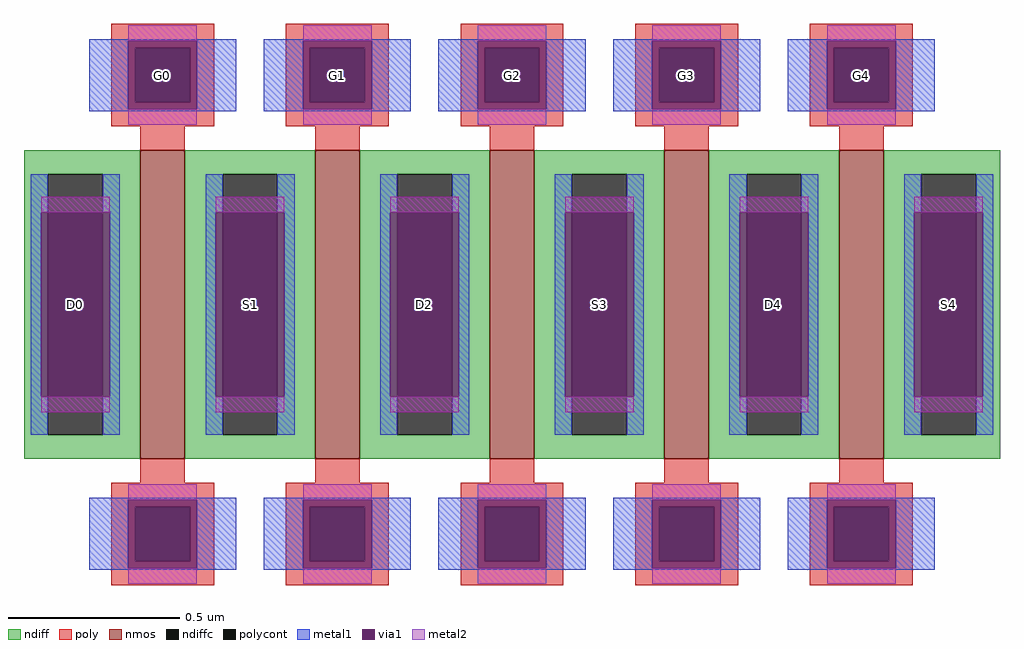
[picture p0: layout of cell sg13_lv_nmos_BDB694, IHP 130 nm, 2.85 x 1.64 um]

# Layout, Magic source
magic
tech ihp-sg13cmos5l
magscale 1 2
<< nmos >>
rect -217 -90 -191 90
rect -115 -90 -89 90
rect -13 -90 13 90
rect 89 -90 115 90
rect 191 -90 217 90
<< ndiff >>
rect -285 76 -217 90
rect -285 -76 -271 76
rect -239 -76 -217 76
rect -285 -90 -217 -76
rect -191 76 -115 90
rect -191 -76 -169 76
rect -137 -76 -115 76
rect -191 -90 -115 -76
rect -89 76 -13 90
rect -89 -76 -67 76
rect -35 -76 -13 76
rect -89 -90 -13 -76
rect 13 76 89 90
rect 13 -76 35 76
rect 67 -76 89 76
rect 13 -90 89 -76
rect 115 76 191 90
rect 115 -76 137 76
rect 169 -76 191 76
rect 115 -90 191 -76
rect 217 76 285 90
rect 217 -76 239 76
rect 271 -76 285 76
rect 217 -90 285 -76
<< ndiffc >>
rect -271 -76 -239 76
rect -169 -76 -137 76
rect -67 -76 -35 76
rect 35 -76 67 76
rect 137 -76 169 76
rect 239 -76 271 76
<< poly >>
rect -234 150 -174 164
rect -234 118 -220 150
rect -188 118 -174 150
rect -234 104 -174 118
rect -132 150 -72 164
rect -132 118 -118 150
rect -86 118 -72 150
rect -132 104 -72 118
rect -30 150 30 164
rect -30 118 -16 150
rect 16 118 30 150
rect -30 104 30 118
rect 72 150 132 164
rect 72 118 86 150
rect 118 118 132 150
rect 72 104 132 118
rect 174 150 234 164
rect 174 118 188 150
rect 220 118 234 150
rect 174 104 234 118
rect -217 90 -191 104
rect -115 90 -89 104
rect -13 90 13 104
rect 89 90 115 104
rect 191 90 217 104
rect -217 -104 -191 -90
rect -115 -104 -89 -90
rect -13 -104 13 -90
rect 89 -104 115 -90
rect 191 -104 217 -90
rect -234 -118 -174 -104
rect -234 -150 -220 -118
rect -188 -150 -174 -118
rect -234 -164 -174 -150
rect -132 -118 -72 -104
rect -132 -150 -118 -118
rect -86 -150 -72 -118
rect -132 -164 -72 -150
rect -30 -118 30 -104
rect -30 -150 -16 -118
rect 16 -150 30 -118
rect -30 -164 30 -150
rect 72 -118 132 -104
rect 72 -150 86 -118
rect 118 -150 132 -118
rect 72 -164 132 -150
rect 174 -118 234 -104
rect 174 -150 188 -118
rect 220 -150 234 -118
rect 174 -164 234 -150
<< polycont >>
rect -220 118 -188 150
rect -118 118 -86 150
rect -16 118 16 150
rect 86 118 118 150
rect 188 118 220 150
rect -220 -150 -188 -118
rect -118 -150 -86 -118
rect -16 -150 16 -118
rect 86 -150 118 -118
rect 188 -150 220 -118
<< metal1 >>
rect -247 154 -161 155
rect -247 114 -224 154
rect -184 114 -161 154
rect -247 113 -161 114
rect -145 154 -59 155
rect -145 114 -122 154
rect -82 114 -59 154
rect -145 113 -59 114
rect -43 154 43 155
rect -43 114 -20 154
rect 20 114 43 154
rect -43 113 43 114
rect 59 154 145 155
rect 59 114 82 154
rect 122 114 145 154
rect 59 113 145 114
rect 161 154 247 155
rect 161 114 184 154
rect 224 114 247 154
rect 161 113 247 114
rect -281 54 -271 76
rect -239 54 -229 76
rect -281 -54 -275 54
rect -235 -54 -229 54
rect -281 -76 -271 -54
rect -239 -76 -229 -54
rect -179 54 -169 76
rect -137 54 -127 76
rect -179 -54 -173 54
rect -133 -54 -127 54
rect -179 -76 -169 -54
rect -137 -76 -127 -54
rect -77 54 -67 76
rect -35 54 -25 76
rect -77 -54 -71 54
rect -31 -54 -25 54
rect -77 -76 -67 -54
rect -35 -76 -25 -54
rect 25 54 35 76
rect 67 54 77 76
rect 25 -54 31 54
rect 71 -54 77 54
rect 25 -76 35 -54
rect 67 -76 77 -54
rect 127 54 137 76
rect 169 54 179 76
rect 127 -54 133 54
rect 173 -54 179 54
rect 127 -76 137 -54
rect 169 -76 179 -54
rect 229 54 239 76
rect 271 54 281 76
rect 229 -54 235 54
rect 275 -54 281 54
rect 229 -76 239 -54
rect 271 -76 281 -54
rect -247 -114 -161 -113
rect -247 -154 -224 -114
rect -184 -154 -161 -114
rect -247 -155 -161 -154
rect -145 -114 -59 -113
rect -145 -154 -122 -114
rect -82 -154 -59 -114
rect -145 -155 -59 -154
rect -43 -114 43 -113
rect -43 -154 -20 -114
rect 20 -154 43 -114
rect -43 -155 43 -154
rect 59 -114 145 -113
rect 59 -154 82 -114
rect 122 -154 145 -114
rect 59 -155 145 -154
rect 161 -114 247 -113
rect 161 -154 184 -114
rect 224 -154 247 -114
rect 161 -155 247 -154
<< via1 >>
rect -224 150 -184 154
rect -224 118 -220 150
rect -220 118 -188 150
rect -188 118 -184 150
rect -224 114 -184 118
rect -122 150 -82 154
rect -122 118 -118 150
rect -118 118 -86 150
rect -86 118 -82 150
rect -122 114 -82 118
rect -20 150 20 154
rect -20 118 -16 150
rect -16 118 16 150
rect 16 118 20 150
rect -20 114 20 118
rect 82 150 122 154
rect 82 118 86 150
rect 86 118 118 150
rect 118 118 122 150
rect 82 114 122 118
rect 184 150 224 154
rect 184 118 188 150
rect 188 118 220 150
rect 220 118 224 150
rect 184 114 224 118
rect -275 -54 -271 54
rect -271 -54 -239 54
rect -239 -54 -235 54
rect -173 -54 -169 54
rect -169 -54 -137 54
rect -137 -54 -133 54
rect -71 -54 -67 54
rect -67 -54 -35 54
rect -35 -54 -31 54
rect 31 -54 35 54
rect 35 -54 67 54
rect 67 -54 71 54
rect 133 -54 137 54
rect 137 -54 169 54
rect 169 -54 173 54
rect 235 -54 239 54
rect 239 -54 271 54
rect 271 -54 275 54
rect -224 -118 -184 -114
rect -224 -150 -220 -118
rect -220 -150 -188 -118
rect -188 -150 -184 -118
rect -224 -154 -184 -150
rect -122 -118 -82 -114
rect -122 -150 -118 -118
rect -118 -150 -86 -118
rect -86 -150 -82 -118
rect -122 -154 -82 -150
rect -20 -118 20 -114
rect -20 -150 -16 -118
rect -16 -150 16 -118
rect 16 -150 20 -118
rect -20 -154 20 -150
rect 82 -118 122 -114
rect 82 -150 86 -118
rect 86 -150 118 -118
rect 118 -150 122 -118
rect 82 -154 122 -150
rect 184 -118 224 -114
rect 184 -150 188 -118
rect 188 -150 220 -118
rect 220 -150 224 -118
rect 184 -154 224 -150
<< metal2 >>
rect -224 154 -184 163
rect -224 105 -184 114
rect -122 154 -82 163
rect -122 105 -82 114
rect -20 154 20 163
rect -20 105 20 114
rect 82 154 122 163
rect 82 105 122 114
rect 184 154 224 163
rect 184 105 224 114
rect -275 54 -235 63
rect -275 -63 -235 -54
rect -173 54 -133 63
rect -173 -63 -133 -54
rect -71 54 -31 63
rect -71 -63 -31 -54
rect 31 54 71 63
rect 31 -63 71 -54
rect 133 54 173 63
rect 133 -63 173 -54
rect 235 54 275 63
rect 235 -63 275 -54
rect -224 -114 -184 -105
rect -224 -163 -184 -154
rect -122 -114 -82 -105
rect -122 -163 -82 -154
rect -20 -114 20 -105
rect -20 -163 20 -154
rect 82 -114 122 -105
rect 82 -163 122 -154
rect 184 -114 224 -105
rect 184 -163 224 -154
<< labels >>
rlabel ndiffc -255 0 -255 0 0 D0
port 1 nsew
rlabel polycont -204 134 -204 134 0 G0
port 2 nsew
rlabel ndiffc -153 0 -153 0 0 S1
port 3 nsew
rlabel polycont -102 134 -102 134 0 G1
port 4 nsew
rlabel ndiffc -51 0 -51 0 0 D2
port 5 nsew
rlabel polycont 0 134 0 134 0 G2
port 6 nsew
rlabel ndiffc 51 0 51 0 0 S3
port 7 nsew
rlabel polycont 102 134 102 134 0 G3
port 8 nsew
rlabel ndiffc 153 0 153 0 0 D4
port 9 nsew
rlabel ndiffc 255 0 255 0 0 S4
port 10 nsew
rlabel polycont 204 134 204 134 0 G4
port 11 nsew
<< properties >>
string gencell sg13_lv_nmos
string library sg13cmos5l
string parameters w 0.9 l 0.13 m 1 ng 5 diffcov 100 polycov 100 guard 0 glc 1 grc 1 gtc 1 gbc 1 tbcov 100 rlcov 100 topc 1 botc 1 poverlap 0 doverlap 1 lmin 0.13 wmin 0.15 class mosfet compatible {sg13_lv_nmos sg13_hv_nmos} full_metal 1 conn_gates 0 gate_ring 0 doports 1 viasrc 100 viadrn 100 viagate 100 ccols 1 viagb 0 viagr 0 viagl 0 viagt 0
<< end >>
